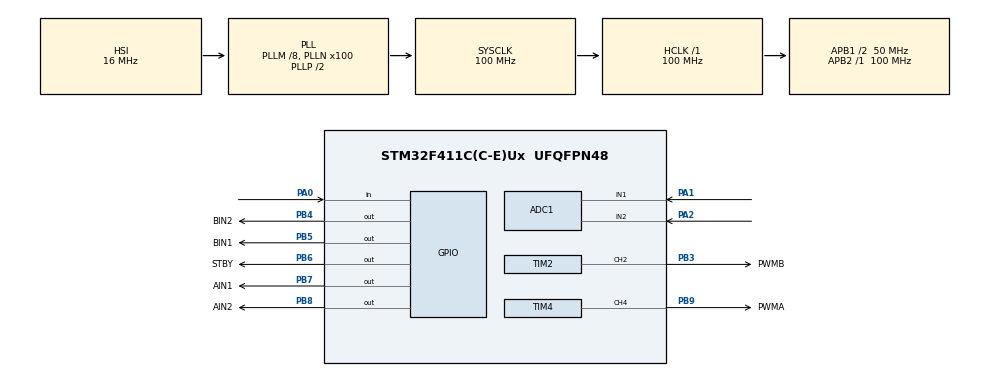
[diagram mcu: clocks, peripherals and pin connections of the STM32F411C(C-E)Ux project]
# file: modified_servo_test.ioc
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ADC1.Channel-2\#ChannelRegularConversion=ADC_CHANNEL_1
ADC1.Channel-3\#ChannelRegularConversion=ADC_CHANNEL_2
ADC1.ContinuousConvMode=ENABLE
ADC1.DMAContinuousRequests=ENABLE
ADC1.NbrOfConversion=2
ADC1.NbrOfConversionFlag=1
ADC1.Rank-2\#ChannelRegularConversion=1
ADC1.Rank-3\#ChannelRegularConversion=2
ADC1.SamplingTime-2\#ChannelRegularConversion=ADC_SAMPLETIME_3CYCLES
ADC1.SamplingTime-3\#ChannelRegularConversion=ADC_SAMPLETIME_3CYCLES
ADC1.ScanConvMode=ENABLE
ADC1.master=1
Dma.ADC1.0.Direction=DMA_PERIPH_TO_MEMORY
Dma.ADC1.0.FIFOMode=DMA_FIFOMODE_DISABLE
Dma.ADC1.0.Instance=DMA2_Stream0
Dma.ADC1.0.MemDataAlignment=DMA_MDATAALIGN_WORD
Dma.ADC1.0.MemInc=DMA_MINC_ENABLE
Dma.ADC1.0.Mode=DMA_CIRCULAR
Dma.ADC1.0.PeriphDataAlignment=DMA_PDATAALIGN_WORD
Dma.ADC1.0.PeriphInc=DMA_PINC_DISABLE
Dma.ADC1.0.Priority=DMA_PRIORITY_LOW
Dma.Request0=ADC1
Mcu.Family=STM32F4
Mcu.Name=STM32F411C(C-E)Ux
Mcu.Package=UFQFPN48
NVIC.DMA2_Stream0_IRQn=true\:0\:0\:false\:false\:true\:false\:true\:true
NVIC.PriorityGroup=NVIC_PRIORITYGROUP_4
NVIC.TIM1_BRK_TIM9_IRQn=true\:0\:0\:false\:false\:true\:true\:true\:true
PA0-WKUP.GPIO_PuPd=GPIO_PULLUP
PA0-WKUP.Signal=GPIO_Input
PA1.Signal=ADCx_IN1
PA13.Mode=Serial_Wire
PA13.Signal=SYS_JTMS-SWDIO
PA14.Mode=Serial_Wire
PA14.Signal=SYS_JTCK-SWCLK
PA2.Signal=ADCx_IN2
PB3.GPIO_Label=PWMB
PB3.Signal=S_TIM2_CH2
PB4.GPIO_Label=BIN2
PB4.Signal=GPIO_Output
PB5.GPIO_Label=BIN1
PB5.Signal=GPIO_Output
PB6.GPIO_Label=STBY
PB6.Signal=GPIO_Output
PB7.GPIO_Label=AIN1
PB7.Signal=GPIO_Output
PB8.GPIO_Label=AIN2
PB8.Signal=GPIO_Output
PB9.GPIO_Label=PWMA
PB9.Signal=S_TIM4_CH4
PH0\ -\ OSC_IN.Mode=HSE-External-Oscillator
PH0\ -\ OSC_IN.Signal=RCC_OSC_IN
PH1\ -\ OSC_OUT.Mode=HSE-External-Oscillator
PH1\ -\ OSC_OUT.Signal=RCC_OSC_OUT
ProjectManager.HeapSize=0x200
ProjectManager.StackSize=0x400
ProjectManager.TargetToolchain=STM32CubeIDE
RCC.48MHZClocksFreq_Value=50000000
RCC.AHBFreq_Value=100000000
RCC.APB1CLKDivider=RCC_HCLK_DIV2
RCC.APB1Freq_Value=50000000
RCC.APB1TimFreq_Value=100000000
RCC.APB2Freq_Value=100000000
RCC.APB2TimFreq_Value=100000000
RCC.CortexFreq_Value=100000000
RCC.HCLKFreq_Value=100000000
RCC.HSE_VALUE=25000000
RCC.HSI_VALUE=16000000
RCC.LSE_VALUE=32768
RCC.PLLM=8
RCC.PLLN=100
RCC.SYSCLKFreq_VALUE=100000000
RCC.SYSCLKSource=RCC_SYSCLKSOURCE_PLLCLK
RCC.VCOOutputFreq_Value=200000000
SH.ADCx_IN1.0=ADC1_IN1,IN1
SH.ADCx_IN2.0=ADC1_IN2,IN2
SH.S_TIM2_CH2.0=TIM2_CH2,PWM Generation2 CH2
SH.S_TIM4_CH4.0=TIM4_CH4,PWM Generation4 CH4
TIM2.Channel-PWM\ Generation2\ CH2=TIM_CHANNEL_2
TIM2.Period=255
TIM4.Channel-PWM\ Generation4\ CH4=TIM_CHANNEL_4
TIM4.Period=255
TIM9.Period=49999
TIM9.Prescaler=19
VP_TIM2_VS_ClockSourceINT.Mode=Internal
VP_TIM9_VS_ClockSourceINT.Mode=Internal
board=custom

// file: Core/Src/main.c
/* USER CODE BEGIN Header */
/**
  ******************************************************************************
  * @file           : main.c
  * @brief          : Main program body
  ******************************************************************************
  * @attention
  *
  * Copyright (c) 2026 STMicroelectronics.
  * All rights reserved.
  *
  * This software is licensed under terms that can be found in the LICENSE file
  * in the root directory of this software component.
  * If no LICENSE file comes with this software, it is provided AS-IS.
  *
  ******************************************************************************
  */
/* USER CODE END Header */
#include "main.h"

ADC_HandleTypeDef hadc1;
DMA_HandleTypeDef hdma_adc1;

TIM_HandleTypeDef htim2;
TIM_HandleTypeDef htim4;
TIM_HandleTypeDef htim9;

/* USER CODE BEGIN PV */
uint32_t AD_RES_curr[2];
uint32_t AD_RES_prev[2];
uint8_t correct_dir = 1;

uint8_t elbow_homing = 0;
uint32_t elbow_start, elbow_end, elbow_neutral;
uint32_t elbow_neutral_delta_curr, elbow_neutral_delta_prev;

uint8_t button;
/* USER CODE END PV */

void SystemClock_Config(void);
static void MX_GPIO_Init(void);
static void MX_DMA_Init(void);
static void MX_ADC1_Init(void);
static void MX_TIM4_Init(void);
static void MX_TIM2_Init(void);
static void MX_TIM9_Init(void);

/* USER CODE BEGIN 0 */
void HAL_TIM_PeriodElapsedCallback(TIM_HandleTypeDef* htim)
{
    if (elbow_homing) {
    	AD_RES_prev[0] = AD_RES_curr[0];
    	elbow_neutral_delta_prev = elbow_neutral_delta_curr;
    }
}

/* USER CODE END 0 */

int main(void)
{

  /* MCU Configuration--------------------------------------------------------*/

  /* Reset of all peripherals, Initializes the Flash interface and the Systick. */
  HAL_Init();

  /* Configure the system clock */
  SystemClock_Config();

  /* Initialize all configured peripherals */
  MX_GPIO_Init();
  MX_DMA_Init();
  MX_ADC1_Init();
  MX_TIM4_Init();
  MX_TIM2_Init();
  MX_TIM9_Init();
  /* USER CODE BEGIN 2 */
  HAL_TIM_PWM_Start(&htim2, TIM_CHANNEL_2);
  HAL_TIM_PWM_Start(&htim4, TIM_CHANNEL_4);

  HAL_ADC_Start_DMA(&hadc1, AD_RES_curr, 2);

  HAL_GPIO_WritePin(STBY_GPIO_Port, STBY_Pin, 1);
  /* USER CODE END 2 */

  /* Infinite loop */
  while (1)
  {

    /* USER CODE BEGIN 3 */
	  button = HAL_GPIO_ReadPin(GPIOA, GPIO_PIN_0);
	  if (!button) elbow_homing = 1;
//	  elbow_homing = 1;

	  if (elbow_homing) {
//		  HAL_TIM_Base_Start_IT(&htim9);
//		  while (1) {
//			  TIM4->CCR4 = 32;
//			  HAL_GPIO_WritePin(AIN2_GPIO_Port, AIN2_Pin, 0);
//			  HAL_GPIO_WritePin(AIN1_GPIO_Port, AIN1_Pin, 1);
//			  if (abs(AD_RES_prev[0] - AD_RES_curr[0]) < 20) {
//				  elbow_start = AD_RES_curr[0];
//				  break;
//			  }
//			  HAL_Delay(1);
//		  }
//
//		  TIM4->CCR4 = 128;
//		  HAL_GPIO_WritePin(AIN2_GPIO_Port, AIN2_Pin, 1);
//		  HAL_GPIO_WritePin(AIN1_GPIO_Port, AIN1_Pin, 1);
//
//		  HAL_Delay(2000);
//
//		  while (1) {
//			  TIM4->CCR4 = 32;
//			  HAL_GPIO_WritePin(AIN2_GPIO_Port, AIN2_Pin, 1);
//			  HAL_GPIO_WritePin(AIN1_GPIO_Port, AIN1_Pin, 0);
//			  if (abs(AD_RES_prev[0] - AD_RES_curr[0]) < 20) {
//				  elbow_end = AD_RES_curr[0];
//				  break;
//			  }
//			  HAL_Delay(1);
//		  }
//
//		  TIM4->CCR4 = 128;
//		  HAL_GPIO_WritePin(AIN2_GPIO_Port, AIN2_Pin, 1);
//		  HAL_GPIO_WritePin(AIN1_GPIO_Port, AIN1_Pin, 1);
//
//		  HAL_Delay(2000);
//
//		  elbow_neutral = (elbow_end + elbow_start) / 2;
//
////		  uint8_t correct_dir = 1;
//
//		  while (correct_dir) {
//			  elbow_neutral_delta_curr = abs(elbow_neutral - AD_RES_curr[0]);
//			  if (abs(AD_RES_prev[0] - AD_RES_curr[0]) < 20) {
//				  correct_dir = 0;
//				  break;
//			  } else if (abs(elbow_neutral_delta_prev - elbow_neutral_delta_curr) < 20) {
//				  correct_dir = 0;
//				  break;
//			  }
//			  TIM4->CCR4 = 32;
//			  HAL_GPIO_WritePin(AIN2_GPIO_Port, AIN2_Pin, 1);
//			  HAL_GPIO_WritePin(AIN1_GPIO_Port, AIN1_Pin, 0);
//		  }
//
//		  TIM4->CCR4 = 128;
//		  HAL_GPIO_WritePin(AIN2_GPIO_Port, AIN2_Pin, 1);
//		  HAL_GPIO_WritePin(AIN1_GPIO_Port, AIN1_Pin, 1);

		  HAL_Delay(2000);

//		  while (elbow_neutral_delta_curr > 10) {
//			  TIM4->CCR4 = 32;
//			  HAL_GPIO_WritePin(AIN2_GPIO_Port, AIN2_Pin, 0);
//			  HAL_GPIO_WritePin(AIN1_GPIO_Port, AIN1_Pin, 1);
//		  }

		  elbow_homing = 0;
//		  HAL_TIM_Base_Stop_IT(&htim9);
	  }
//	  TIM2->CCR2 = 64;
//	  TIM4->CCR4 = 64;
//
//	  HAL_GPIO_WritePin(AIN2_GPIO_Port, AIN2_Pin, 0);
//	  HAL_GPIO_WritePin(AIN1_GPIO_Port, AIN1_Pin, 1);
//	  HAL_GPIO_WritePin(BIN2_GPIO_Port, BIN2_Pin, 0);
//	  HAL_GPIO_WritePin(BIN1_GPIO_Port, BIN1_Pin, 1);
//	  HAL_Delay(200);
//
//	  HAL_GPIO_WritePin(AIN2_GPIO_Port, AIN2_Pin, 1);
//	  HAL_GPIO_WritePin(AIN2_GPIO_Port, AIN1_Pin, 1);
//	  HAL_GPIO_WritePin(AIN2_GPIO_Port, BIN2_Pin, 1);
//	  HAL_GPIO_WritePin(AIN2_GPIO_Port, BIN1_Pin, 1);
//	  HAL_Delay(1000);
//
//	  HAL_GPIO_WritePin(AIN2_GPIO_Port, AIN2_Pin, 1);
//	  HAL_GPIO_WritePin(AIN2_GPIO_Port, AIN1_Pin, 0);
//	  HAL_GPIO_WritePin(AIN2_GPIO_Port, BIN2_Pin, 1);
//	  HAL_GPIO_WritePin(AIN2_GPIO_Port, BIN1_Pin, 0);
//	  HAL_Delay(200);
//
//	  HAL_GPIO_WritePin(AIN2_GPIO_Port, AIN2_Pin, 1);
//	  HAL_GPIO_WritePin(AIN2_GPIO_Port, AIN1_Pin, 1);
//	  HAL_GPIO_WritePin(AIN2_GPIO_Port, BIN2_Pin, 1);
//	  HAL_GPIO_WritePin(AIN2_GPIO_Port, BIN1_Pin, 1);
//	  HAL_Delay(1000);
//
//	  TIM2->CCR2 = 0;
//	  TIM4->CCR4 = 0;
  }
  /* USER CODE END 3 */
}

void SystemClock_Config(void)
{
  RCC_OscInitTypeDef RCC_OscInitStruct = {0};
  RCC_ClkInitTypeDef RCC_ClkInitStruct = {0};

  /** Configure the main internal regulator output voltage
  */
  __HAL_RCC_PWR_CLK_ENABLE();
  __HAL_PWR_VOLTAGESCALING_CONFIG(PWR_REGULATOR_VOLTAGE_SCALE1);

  /** Initializes the RCC Oscillators according to the specified parameters
  * in the RCC_OscInitTypeDef structure.
  */
  RCC_OscInitStruct.OscillatorType = RCC_OSCILLATORTYPE_HSI;
  RCC_OscInitStruct.HSIState = RCC_HSI_ON;
  RCC_OscInitStruct.HSICalibrationValue = RCC_HSICALIBRATION_DEFAULT;
  RCC_OscInitStruct.PLL.PLLState = RCC_PLL_ON;
  RCC_OscInitStruct.PLL.PLLSource = RCC_PLLSOURCE_HSI;
  RCC_OscInitStruct.PLL.PLLM = 8;
  RCC_OscInitStruct.PLL.PLLN = 100;
  RCC_OscInitStruct.PLL.PLLP = RCC_PLLP_DIV2;
  RCC_OscInitStruct.PLL.PLLQ = 4;
  if (HAL_RCC_OscConfig(&RCC_OscInitStruct) != HAL_OK)
  {
    Error_Handler();
  }

  /** Initializes the CPU, AHB and APB buses clocks
  */
  RCC_ClkInitStruct.ClockType = RCC_CLOCKTYPE_HCLK|RCC_CLOCKTYPE_SYSCLK
                              |RCC_CLOCKTYPE_PCLK1|RCC_CLOCKTYPE_PCLK2;
  RCC_ClkInitStruct.SYSCLKSource = RCC_SYSCLKSOURCE_PLLCLK;
  RCC_ClkInitStruct.AHBCLKDivider = RCC_SYSCLK_DIV1;
  RCC_ClkInitStruct.APB1CLKDivider = RCC_HCLK_DIV2;
  RCC_ClkInitStruct.APB2CLKDivider = RCC_HCLK_DIV1;

  if (HAL_RCC_ClockConfig(&RCC_ClkInitStruct, FLASH_LATENCY_3) != HAL_OK)
  {
    Error_Handler();
  }
}

static void MX_ADC1_Init(void)
{

  ADC_ChannelConfTypeDef sConfig = {0};

  /** Configure the global features of the ADC (Clock, Resolution, Data Alignment and number of conversion)
  */
  hadc1.Instance = ADC1;
  hadc1.Init.ClockPrescaler = ADC_CLOCK_SYNC_PCLK_DIV4;
  hadc1.Init.Resolution = ADC_RESOLUTION_12B;
  hadc1.Init.ScanConvMode = ENABLE;
  hadc1.Init.ContinuousConvMode = ENABLE;
  hadc1.Init.DiscontinuousConvMode = DISABLE;
  hadc1.Init.ExternalTrigConvEdge = ADC_EXTERNALTRIGCONVEDGE_NONE;
  hadc1.Init.ExternalTrigConv = ADC_SOFTWARE_START;
  hadc1.Init.DataAlign = ADC_DATAALIGN_RIGHT;
  hadc1.Init.NbrOfConversion = 2;
  hadc1.Init.DMAContinuousRequests = ENABLE;
  hadc1.Init.EOCSelection = ADC_EOC_SINGLE_CONV;
  if (HAL_ADC_Init(&hadc1) != HAL_OK)
  {
    Error_Handler();
  }

  /** Configure for the selected ADC regular channel its corresponding rank in the sequencer and its sample time.
  */
  sConfig.Channel = ADC_CHANNEL_1;
  sConfig.Rank = 1;
  sConfig.SamplingTime = ADC_SAMPLETIME_3CYCLES;
  if (HAL_ADC_ConfigChannel(&hadc1, &sConfig) != HAL_OK)
  {
    Error_Handler();
  }

  /** Configure for the selected ADC regular channel its corresponding rank in the sequencer and its sample time.
  */
  sConfig.Channel = ADC_CHANNEL_2;
  sConfig.Rank = 2;
  if (HAL_ADC_ConfigChannel(&hadc1, &sConfig) != HAL_OK)
  {
    Error_Handler();
  }

}

static void MX_TIM2_Init(void)
{

  TIM_ClockConfigTypeDef sClockSourceConfig = {0};
  TIM_MasterConfigTypeDef sMasterConfig = {0};
  TIM_OC_InitTypeDef sConfigOC = {0};

  htim2.Instance = TIM2;
  htim2.Init.Prescaler = 0;
  htim2.Init.CounterMode = TIM_COUNTERMODE_UP;
  htim2.Init.Period = 255;
  htim2.Init.ClockDivision = TIM_CLOCKDIVISION_DIV1;
  htim2.Init.AutoReloadPreload = TIM_AUTORELOAD_PRELOAD_DISABLE;
  if (HAL_TIM_Base_Init(&htim2) != HAL_OK)
  {
    Error_Handler();
  }
  sClockSourceConfig.ClockSource = TIM_CLOCKSOURCE_INTERNAL;
  if (HAL_TIM_ConfigClockSource(&htim2, &sClockSourceConfig) != HAL_OK)
  {
    Error_Handler();
  }
  if (HAL_TIM_PWM_Init(&htim2) != HAL_OK)
  {
    Error_Handler();
  }
  sMasterConfig.MasterOutputTrigger = TIM_TRGO_RESET;
  sMasterConfig.MasterSlaveMode = TIM_MASTERSLAVEMODE_DISABLE;
  if (HAL_TIMEx_MasterConfigSynchronization(&htim2, &sMasterConfig) != HAL_OK)
  {
    Error_Handler();
  }
  sConfigOC.OCMode = TIM_OCMODE_PWM1;
  sConfigOC.Pulse = 0;
  sConfigOC.OCPolarity = TIM_OCPOLARITY_HIGH;
  sConfigOC.OCFastMode = TIM_OCFAST_DISABLE;
  if (HAL_TIM_PWM_ConfigChannel(&htim2, &sConfigOC, TIM_CHANNEL_2) != HAL_OK)
  {
    Error_Handler();
  }
  HAL_TIM_MspPostInit(&htim2);

}

static void MX_TIM4_Init(void)
{

  TIM_MasterConfigTypeDef sMasterConfig = {0};
  TIM_OC_InitTypeDef sConfigOC = {0};

  htim4.Instance = TIM4;
  htim4.Init.Prescaler = 0;
  htim4.Init.CounterMode = TIM_COUNTERMODE_UP;
  htim4.Init.Period = 255;
  htim4.Init.ClockDivision = TIM_CLOCKDIVISION_DIV1;
  htim4.Init.AutoReloadPreload = TIM_AUTORELOAD_PRELOAD_DISABLE;
  if (HAL_TIM_PWM_Init(&htim4) != HAL_OK)
  {
    Error_Handler();
  }
  sMasterConfig.MasterOutputTrigger = TIM_TRGO_RESET;
  sMasterConfig.MasterSlaveMode = TIM_MASTERSLAVEMODE_DISABLE;
  if (HAL_TIMEx_MasterConfigSynchronization(&htim4, &sMasterConfig) != HAL_OK)
  {
    Error_Handler();
  }
  sConfigOC.OCMode = TIM_OCMODE_PWM1;
  sConfigOC.Pulse = 0;
  sConfigOC.OCPolarity = TIM_OCPOLARITY_HIGH;
  sConfigOC.OCFastMode = TIM_OCFAST_DISABLE;
  if (HAL_TIM_PWM_ConfigChannel(&htim4, &sConfigOC, TIM_CHANNEL_4) != HAL_OK)
  {
    Error_Handler();
  }
  HAL_TIM_MspPostInit(&htim4);

}

static void MX_TIM9_Init(void)
{

  TIM_ClockConfigTypeDef sClockSourceConfig = {0};

  htim9.Instance = TIM9;
  htim9.Init.Prescaler = 19;
  htim9.Init.CounterMode = TIM_COUNTERMODE_UP;
  htim9.Init.Period = 49999;
  htim9.Init.ClockDivision = TIM_CLOCKDIVISION_DIV1;
  htim9.Init.AutoReloadPreload = TIM_AUTORELOAD_PRELOAD_DISABLE;
  if (HAL_TIM_Base_Init(&htim9) != HAL_OK)
  {
    Error_Handler();
  }
  sClockSourceConfig.ClockSource = TIM_CLOCKSOURCE_INTERNAL;
  if (HAL_TIM_ConfigClockSource(&htim9, &sClockSourceConfig) != HAL_OK)
  {
    Error_Handler();
  }

}

static void MX_DMA_Init(void)
{

  /* DMA controller clock enable */
  __HAL_RCC_DMA2_CLK_ENABLE();

  /* DMA interrupt init */
  /* DMA2_Stream0_IRQn interrupt configuration */
  HAL_NVIC_SetPriority(DMA2_Stream0_IRQn, 0, 0);
  HAL_NVIC_EnableIRQ(DMA2_Stream0_IRQn);

}

static void MX_GPIO_Init(void)
{
  GPIO_InitTypeDef GPIO_InitStruct = {0};

  /* GPIO Ports Clock Enable */
  __HAL_RCC_GPIOH_CLK_ENABLE();
  __HAL_RCC_GPIOA_CLK_ENABLE();
  __HAL_RCC_GPIOB_CLK_ENABLE();

  /*Configure GPIO pin Output Level */
  HAL_GPIO_WritePin(GPIOB, BIN2_Pin|BIN1_Pin|STBY_Pin|AIN1_Pin
                          |AIN2_Pin, GPIO_PIN_RESET);

  /*Configure GPIO pin : PA0 */
  GPIO_InitStruct.Pin = GPIO_PIN_0;
  GPIO_InitStruct.Mode = GPIO_MODE_INPUT;
  GPIO_InitStruct.Pull = GPIO_PULLUP;
  HAL_GPIO_Init(GPIOA, &GPIO_InitStruct);

  /*Configure GPIO pins : BIN2_Pin BIN1_Pin STBY_Pin AIN1_Pin
                           AIN2_Pin */
  GPIO_InitStruct.Pin = BIN2_Pin|BIN1_Pin|STBY_Pin|AIN1_Pin
                          |AIN2_Pin;
  GPIO_InitStruct.Mode = GPIO_MODE_OUTPUT_PP;
  GPIO_InitStruct.Pull = GPIO_NOPULL;
  GPIO_InitStruct.Speed = GPIO_SPEED_FREQ_LOW;
  HAL_GPIO_Init(GPIOB, &GPIO_InitStruct);

}

void Error_Handler(void)
{
  __disable_irq();
  while (1)
  {
  }
}
